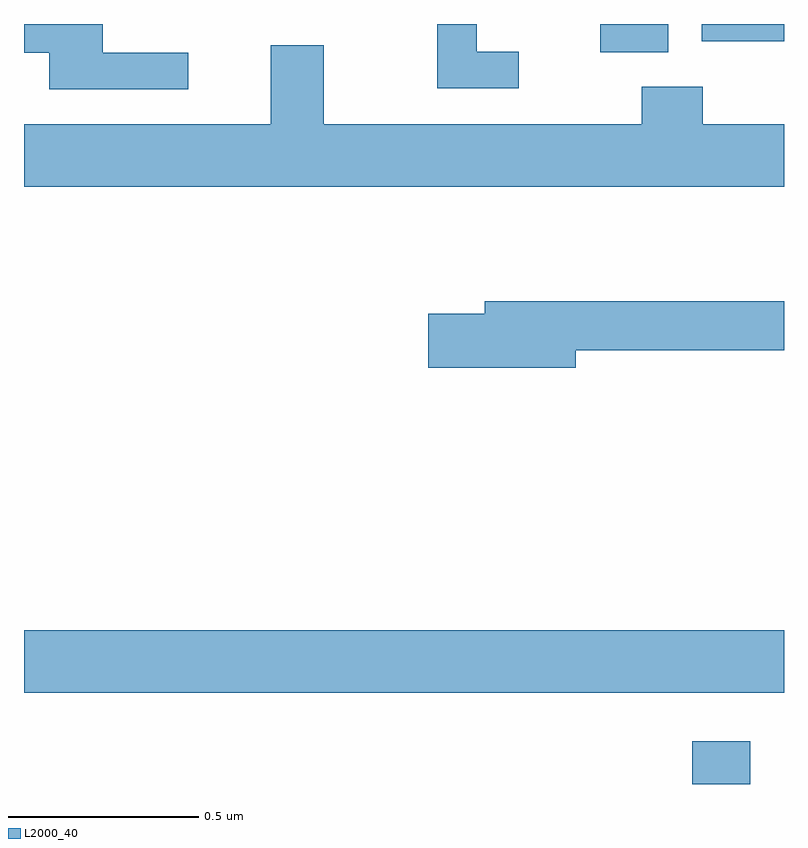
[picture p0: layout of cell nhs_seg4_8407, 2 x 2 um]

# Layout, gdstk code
import gdstk
lib = gdstk.Library(unit=1e-6, precision=1e-09)
def R(c, l, rs):  # rectangles x0, y0, x1, y1
    for r in rs: c.add(gdstk.rectangle(r[:2], r[2:], *l))
def P(c, l, *ps):  # polygons
    for p in ps: c.add(gdstk.Polygon(p, *l))
L2000_40 = (2000, 40)

nhs_seg4_8407 = lib.new_cell('nhs_seg4_8407')
R(nhs_seg4_8407, L2000_40, [(215.759,809.9,215.911,810.013), (214,810.14,216,810.304), (215.516,811.826,215.695,811.9), (215.784,811.855,216,811.9)])
P(nhs_seg4_8407, L2000_40, [(214.432,811.824),(214.207,811.824),(214.207,811.9),(214,811.9),(214,811.824),(214.067,811.824),(214.067,811.728),(214.432,811.728)],
  [(215.302,811.827),(215.191,811.827),(215.191,811.9),(215.087,811.9),(215.087,811.731),(215.302,811.731)],
  [(216,811.636),(215.786,811.636),(215.786,811.735),(215.626,811.735),(215.626,811.636),(214.789,811.636),(214.789,811.844),(214.649,811.844),(214.649,811.636),(214,811.636),(214,811.472),(216,811.472)],
  [(215.452,811.042),(216,811.042),(216,811.171),(215.213,811.171),(215.213,811.137),(215.064,811.137),(215.064,810.995),(215.452,810.995)])

lib.write_gds('nhs_seg4_8407.gds')
